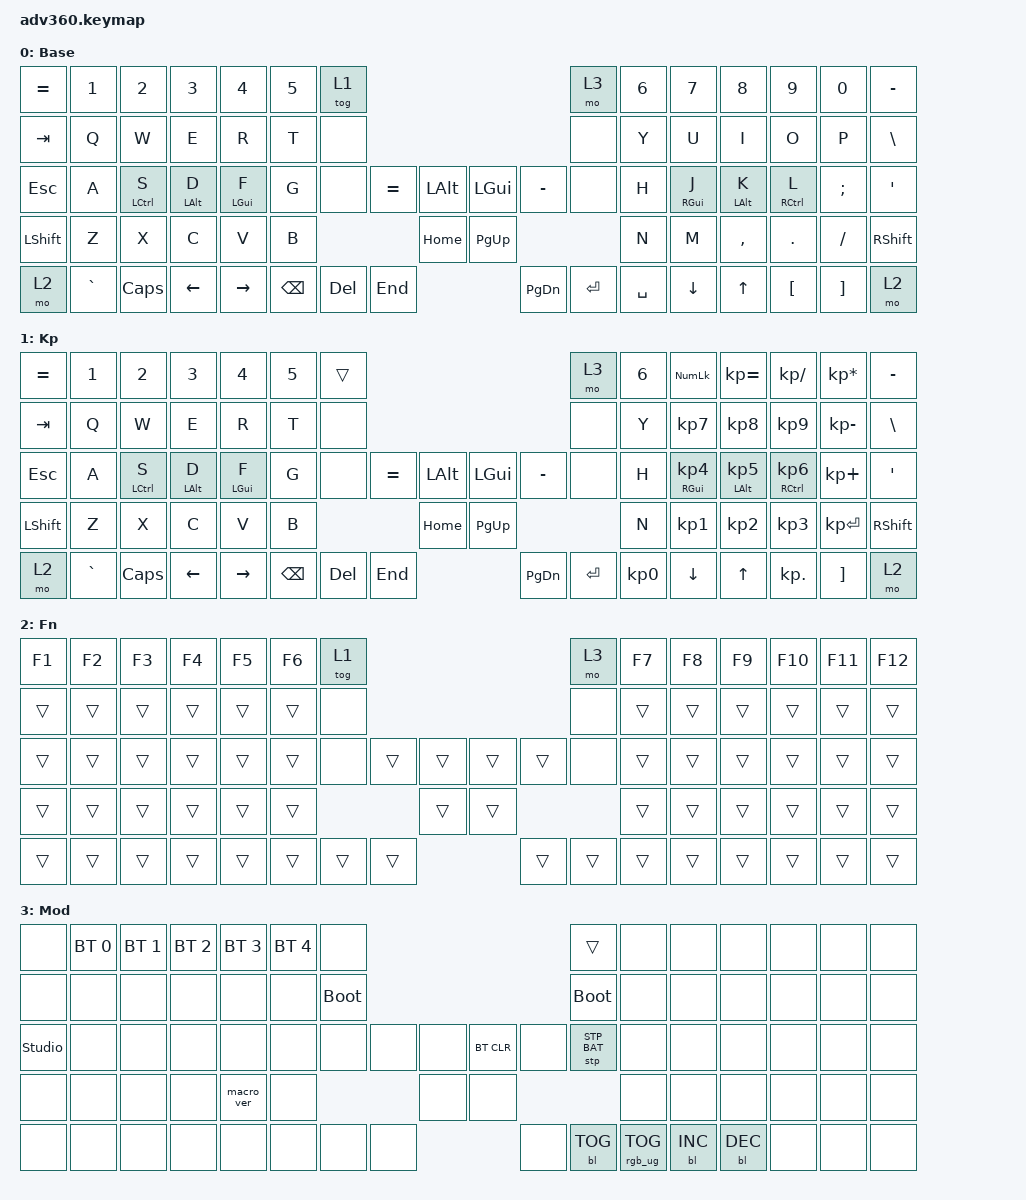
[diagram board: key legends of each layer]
#include <behaviors.dtsi>
#include <dt-bindings/zmk/keys.h>
#include <dt-bindings/zmk/bt.h>
#include <dt-bindings/zmk/rgb.h>
#include <dt-bindings/zmk/stp.h>
#include <dt-bindings/zmk/backlight.h>
#include <dt-bindings/zmk/pointing.h>

/ {
    behaviors {
      #include "macros.dtsi"
      #include "version.dtsi"

      hml: homerow_mods_left {
          compatible = "zmk,behavior-hold-tap";
          label = "HOMEROW_MODS_LEFT";
          #binding-cells = <2>;
          tapping-term-ms = <280>;
          quick-tap-ms = <175>;
          require-prior-idle-ms = <150>;
          flavor = "balanced";
          bindings = <&kp>, <&kp>;
          hold-trigger-key-positions = <7 8 9 10 11 12 13 21 22 23 24 25 26 27 39 40 41 42 43 44 45 54 55 56 57 58 59 71 72 73 74 75 37 38 53 68 69 70>;
      };

      hmr: homerow_mods_right {
          compatible = "zmk,behavior-hold-tap";
          label = "HOMEROW_MODS_RIGHT";
          #binding-cells = <2>;
          tapping-term-ms = <280>;
          quick-tap-ms = <175>;
          require-prior-idle-ms = <150>;
          flavor = "balanced";
          bindings = <&kp>, <&kp>;
          hold-trigger-key-positions = <0 1 2 3 4 5 6 14 15 16 17 18 19 20 28 29 30 31 32 33 34 46 47 48 49 50 51 60 61 62 63 64 35 36 52 65 66 67>;
      };
    };

  keymap {
    compatible = "zmk,keymap";

    default_layer {
      display-name = "Base";
      bindings = <
        &kp EQUAL &kp N1    &kp N2   &kp N3   &kp N4     &kp N5 &tog 1                                                           &mo 3 &kp N6 &kp N7 &kp N8    &kp N9   &kp N0   &kp MINUS
        &kp TAB   &kp Q     &kp W    &kp E    &kp R      &kp T  &none                                                            &none &kp Y  &kp U  &kp I     &kp O    &kp P    &kp BSLH
        &kp ESC   &kp A  &hml LCTRL S  &hml LALT D  &hml LGUI F  &kp G  &none  &kp EQUAL &kp LALT &kp LGUI  &kp MINUS  &none &kp H  &hmr RGUI J  &hmr LALT K  &hmr RCTRL L  &kp SEMI &kp SQT
        &kp LSHFT &kp Z     &kp X    &kp C    &kp V      &kp B                            &kp HOME &kp PG_UP                           &kp N  &kp M  &kp COMMA &kp DOT  &kp FSLH &kp RSHFT
        &mo 2     &kp GRAVE &kp CAPS &kp LEFT &kp RIGHT                &kp BSPC &kp DEL   &kp END  &kp PG_DN &kp ENTER &kp SPACE              &kp DOWN &kp UP  &kp LBKT &kp RBKT &mo 2
      >;
    };
    keypad {
      display-name = "Kp";
      bindings = <
        &kp EQUAL &kp N1    &kp N2   &kp N3   &kp N4     &kp N5 &trans                                                           &mo 3 &kp N6 &kp KP_NUM &kp KP_EQUAL &kp KP_DIVIDE &kp KP_MULTIPLY &kp MINUS
        &kp TAB   &kp Q     &kp W    &kp E    &kp R      &kp T  &none                                                            &none &kp Y  &kp KP_N7  &kp KP_N8    &kp KP_N9     &kp KP_MINUS    &kp BSLH
        &kp ESC   &kp A  &hml LCTRL S  &hml LALT D  &hml LGUI F  &kp G  &none  &kp EQUAL &kp LALT &kp LGUI  &kp MINUS  &none &kp H  &hmr RGUI KP_N4  &hmr LALT KP_N5  &hmr RCTRL KP_N6  &kp KP_PLUS  &kp SQT
        &kp LSHFT &kp Z     &kp X    &kp C    &kp V      &kp B                            &kp HOME &kp PG_UP                           &kp N  &kp KP_N1  &kp KP_N2    &kp KP_N3     &kp KP_ENTER    &kp RSHFT
        &mo 2     &kp GRAVE &kp CAPS &kp LEFT &kp RIGHT                &kp BSPC &kp DEL   &kp END  &kp PG_DN &kp ENTER &kp KP_N0              &kp DOWN   &kp UP       &kp KP_DOT    &kp RBKT        &mo 2
      >;
    };
    fn {
      display-name = "Fn";
      bindings = <
        &kp F1 &kp F2 &kp F3 &kp F4 &kp F5 &kp F6 &tog 1                                           &mo 3 &kp F7 &kp F8 &kp F9 &kp F10 &kp F11 &kp F12
        &trans &trans &trans &trans &trans &trans  &none                                           &none &trans &trans &trans &trans  &trans  &trans
        &trans &trans &trans &trans &trans &trans  &none        &trans &trans &trans &trans        &none &trans &trans &trans &trans  &trans  &trans
        &trans &trans &trans &trans &trans &trans                      &trans &trans                     &trans &trans &trans &trans  &trans  &trans
        &trans &trans &trans &trans &trans               &trans &trans &trans &trans &trans &trans              &trans &trans &trans  &trans  &trans
      >;
    };
    mod {
      display-name = "Mod";
      bindings = <
        &none &bt BT_SEL 0 &bt BT_SEL 1 &bt BT_SEL 2 &bt BT_SEL 3 &bt BT_SEL 4 &none                                                                     &trans                 &none        &none        &none        &none &none &none
        &none &none        &none        &none        &none        &none        &bootloader                                                               &bootloader            &none        &none        &none        &none &none &none
        &studio_unlock &none        &none        &none        &none        &none        &none                   &none &none &bt BT_CLR &none                      &stp STP_BAT &none        &none        &none        &none &none &none
        &none &none        &none        &none        &macro_ver   &none                                      &none &none                                                        &none        &none        &none        &none &none &none
        &none &none        &none        &none        &none                                       &none &none &none &none      &bl BL_TOG &rgb_ug RGB_TOG                                     &bl BL_INC   &bl BL_DEC   &none &none &none
      >;
    };
    extra1 { 
      display-name = "Red";    
      status = "reserved";
    };

    extra2 { 
      display-name = "Purple";    
      status = "reserved";
    };

    extra3 { 
      display-name = "Cyan";    
      status = "reserved";
    };

    extra4 { 
      display-name = "Yellow";    
      status = "reserved";
    };
  };
};
